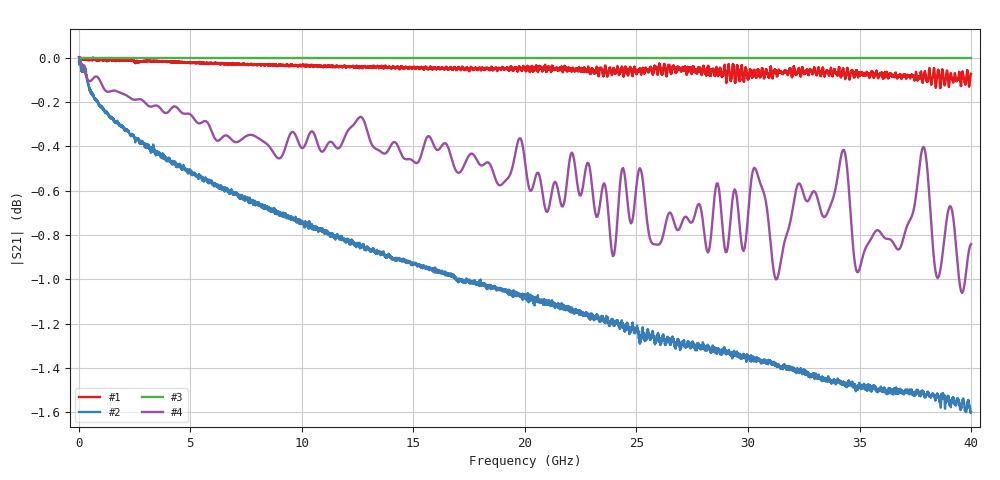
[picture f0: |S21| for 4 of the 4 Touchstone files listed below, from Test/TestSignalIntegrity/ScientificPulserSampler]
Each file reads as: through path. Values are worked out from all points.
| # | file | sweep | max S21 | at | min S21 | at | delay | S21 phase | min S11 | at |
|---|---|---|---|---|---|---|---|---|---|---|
| 1 | Adapter.s2p | 5 MHz to 40 GHz | 0.00 dB | 5 MHz | -0.1 dB | 38.62 GHz | 54.9 ps | -35 deg at 20 GHz | -85.0 dB | 5 MHz |
| 2 | Cable1.s2p | 10 MHz to 40 GHz | 0.00 dB | 35 MHz | -1.6 dB | 39.99 GHz | 2.25 ns | 16 deg at 20 GHz | -79.9 dB | 20.06 GHz |
| 3 | ScientificTDR1.s2p | 100 MHz to 40 GHz | 0.00 dB | 100 MHz | 0.0 dB | 100 MHz | - | 0 deg at 20.1 GHz | -62.0 dB | 16.6 GHz |
| 4 | SemiRigidCable2.s2p | 50 MHz to 40 GHz | -0.03 dB | 50 MHz | -1.1 dB | 39.6 GHz | 567 ps | -137 deg at 20.05 GHz | -74.8 dB | 4.65 GHz |
